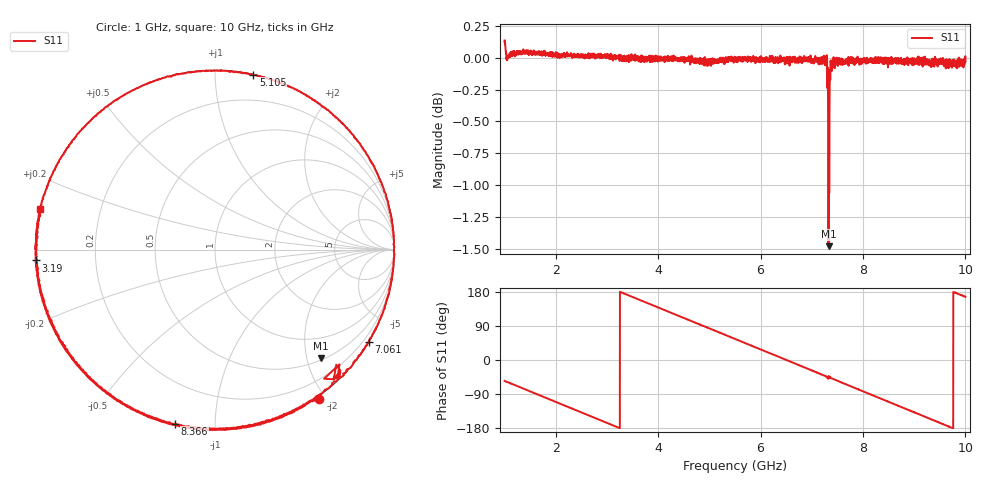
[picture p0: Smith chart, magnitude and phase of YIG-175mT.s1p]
#  HZ  S  RI  R  50.0
! Rohde & Schwarz ZVL13 2Ports - Version 3.31 - 1303.6509k13 SN: 101088
! Date: 2023-03-02 17:01:20
! Data & Calibration Information:
! Trc2:S21(Trans Norm)
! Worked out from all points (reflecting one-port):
!   4000 points, 1 GHz to 10 GHz, reference 50 ohm
!   lowest |S11| = -1.5 dB at 7.326 GHz (marker M1), VSWR 11.77, Z = 27 - j113 ohm
!   phase of S11 starts at -55 deg and turns -498 deg over the sweep
!   S11 on the Smith chart (normalised r, x): 1 GHz: -0.04, -1.91; 3.19 GHz: -0.00, -0.03; 5.105 GHz: 0.00, +1.24; 7.061 GHz: 0.01, -3.61; 8.366 GHz: 0.00, -0.80; 10 GHz: 0.00, +0.12
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1e9  0.5803 -0.8337
1.330833e9  0.2867 -0.9629
1.578395e9  0.0487 -1.005
1.850713e9  -0.2155 -0.9795
2.125281e9  -0.4646 -0.8876
2.676669e9  -0.8497 -0.5282
3.189797e9  -0.9996 -0.0604
3.250563e9  -0.9989 -0.00102
3.511628e9  -0.9683 0.2495
3.783946e9  -0.8691 0.4932
4.375844e9  -0.4653 0.8842
4.75844e9  -0.1141 0.9897
5.105026e9  0.2139 0.9737
5.501125e9  0.5647 0.8232
5.813953e9  0.7847 0.6171
6.070518e9  0.9126 0.4079
6.35859e9  0.9874 0.1419
6.626407e9  0.9907 -0.1172
7.060765e9  0.8562 -0.5133
7.326332e9  0.5888 -0.6039
7.751688e9  0.3585 -0.9287
8.048762e9  0.0819 -0.9942
8.366092e9  -0.2235 -0.9718
8.876969e9  -0.6593 -0.7485
9.187547e9  -0.8507 -0.5233
9.43961e9  -0.9501 -0.3016
9.711928e9  -0.9954 -0.0392
1e10  -0.9703 0.2284
